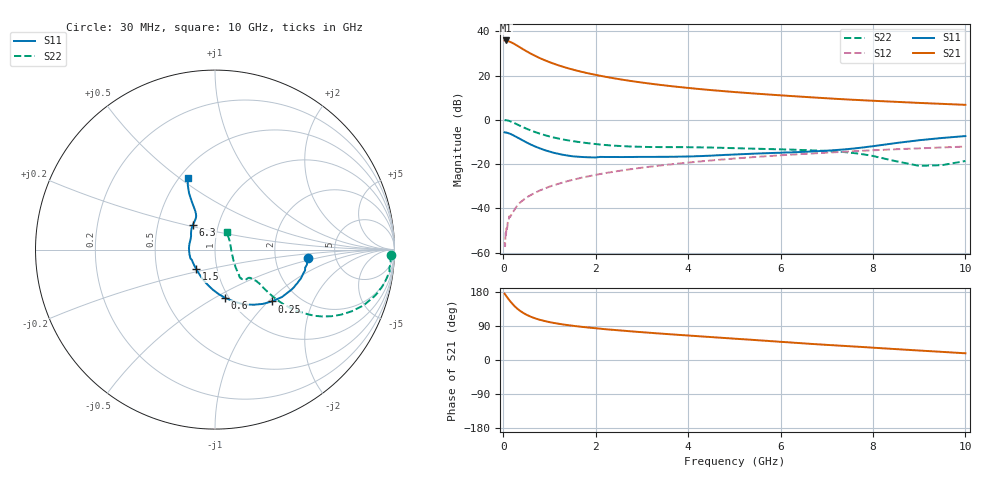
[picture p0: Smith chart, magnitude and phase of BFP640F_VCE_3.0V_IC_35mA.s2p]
! Infineon Technologies  Discrete & RF Semiconductors
! BFP640F
! VCE =  3.0 V,  IC =  35 mA
! Common Emitter S-Parameters:  Apr 2013
# GHz  S  MA  R  50
!  f  S11  S21  S12  S22
! GHz  MAG  ANG  MAG  ANG  MAG  ANG  MAG  ANG
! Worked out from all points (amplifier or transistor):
!   99 points, 30 MHz to 10 GHz, reference 50 ohm
!   highest |S21| = 35.8 dB at 50 MHz (marker M1)
!   |S21| within 3 dB of that: start of sweep to 352.9 MHz
!   unconditionally stable (mu >= 1): 1.727 GHz to end of sweep
!   at 350 MHz: K = 0.53, MSG = 35.3 dB, |S12| = -37.7 dB
!   at 3.5 GHz: K = 1.06, MAG = 16.5 dB, |S12| = -20.4 dB
!   at 10 GHz: K = 1.04, MAG = 8.2 dB, |S12| = -12.1 dB
!   S11 on the Smith chart (normalised r, x): 30 MHz: 3.11, -0.42; 250 MHz: 1.48, -1.05; 600 MHz: 0.96, -0.56; 1.5 GHz: 0.79, -0.18; 6.3 GHz: 0.75, +0.22; 10 GHz: 0.55, +0.54
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0.03  0.5209 -5.4  61.76 175.0  0.0017 96.0  0.9787 -1.8
0.05  0.5189 -9.2  61.97 171.7  0.0029 93.4  0.9832 -4.4
0.11  0.4994 -20.3  59.8 161.4  0.005 76.1  0.9578 -11.8
0.15  0.4823 -27.3  57.58 155.2  0.0064 82.9  0.9275 -16.1
0.2  0.4575 -35.2  54.38 148.0  0.008 79.5  0.8841 -20.6
0.25  0.4287 -42.4  50.94 141.6  0.0095 76.1  0.8355 -24.3
0.3  0.4023 -48.8  47.44 136.0  0.0115 73.6  0.7888 -27.4
0.4  0.3528 -60.3  40.97 126.8  0.0145 74.3  0.7027 -32.0
0.5  0.3099 -69.5  35.53 119.7  0.0175 74.6  0.6315 -34.8
0.6  0.2752 -78.1  31.11 114.0  0.0201 74.1  0.5727 -36.8
0.7  0.2475 -85.6  27.49 109.5  0.0227 73.2  0.5243 -37.9
0.9  0.2062 -99.3  22.13 102.7  0.0281 73.1  0.4502 -39.0
1.1  0.1792 -111.8  18.39 97.6  0.0335 72.7  0.397 -39.0
1.5  0.1501 -133.8  13.68 90.4  0.044 71.8  0.3305 -37.9
1.7  0.1448 -143.5  12.12 87.5  0.0494 71.0  0.3086 -37.3
2.4  0.1447 -169.4  8.651 79.3  0.0675 68.2  0.2606 -38.3
3.4  0.1463 166.2  6.147 69.8  0.093 63.3  0.2419 -41.6
5.1  0.1663 143.1  4.166 55.5  0.1357 54.4  0.2276 -46.9
6.3  0.1861 131.3  3.408 45.5  0.1649 47.5  0.2113 -48.2
6.7  0.1934 126.3  3.204 42.2  0.1742 45.2  0.2036 -48.0
8.5  0.2988 115.8  2.546 28.7  0.2164 34.8  0.1158 -28.7
10  0.4291 110.6  2.18 17.7  0.2486 25.9  0.1175 55.9
